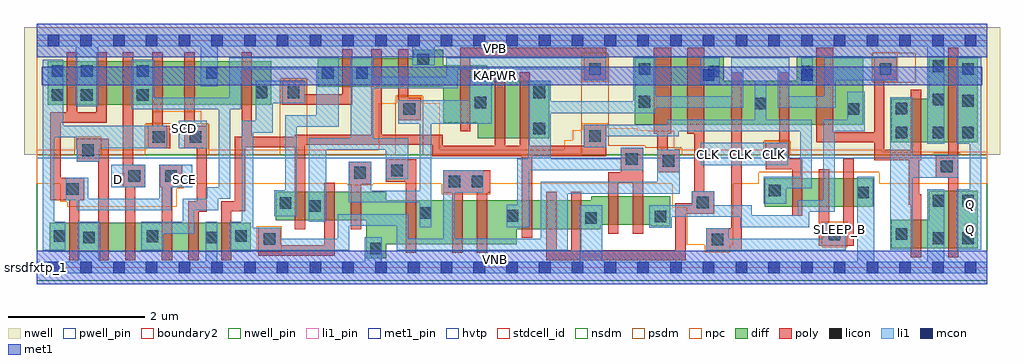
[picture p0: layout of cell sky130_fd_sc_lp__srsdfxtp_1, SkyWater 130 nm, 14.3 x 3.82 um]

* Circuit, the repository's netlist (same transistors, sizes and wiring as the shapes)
* Copyright 2020 The SkyWater PDK Authors
*
* Licensed under the Apache License, Version 2.0 (the "License");
* you may not use this file except in compliance with the License.
* You may obtain a copy of the License at
*
*     https://www.apache.org/licenses/LICENSE-2.0
*
* Unless required by applicable law or agreed to in writing, software
* distributed under the License is distributed on an "AS IS" BASIS,
* WITHOUT WARRANTIES OR CONDITIONS OF ANY KIND, either express or implied.
* See the License for the specific language governing permissions and
* limitations under the License.
*
* SPDX-License-Identifier: Apache-2.0

.SUBCKT sky130_fd_sc_lp__srsdfxtp_1 CLK D SCD SCE SLEEP_B KAPWR VGND VNB VPB VPWR Q
*.PININFO CLK:I D:I SCD:I SCE:I SLEEP_B:I KAPWR:I VGND:I VNB:I VPB:I
*.PININFO VPWR:I Q:O
MI676 net085 clkpos s0 VNB sky130_fd_pr__nfet_01v8 m=1 w=0.64U l=0.15U mult=1 sa=0.265
+ sb=0.265 sd=0.28 area=0.063 perim=1.14
MI673 net061 net062 net096 VNB sky130_fd_pr__nfet_01v8 m=1 w=0.42U l=0.15U mult=1
+ sa=0.265 sb=0.265 sd=0.28 area=0.063 perim=1.14
MI642 clkneg CLK net0123 VNB sky130_fd_pr__nfet_01v8 m=1 w=0.42U l=0.15U mult=1
+ sa=0.265 sb=0.265 sd=0.28 area=0.063 perim=1.14
MI636 clkpos clkneg VGND VNB sky130_fd_pr__nfet_01v8 m=1 w=0.42U l=0.15U mult=1
+ sa=0.265 sb=0.265 sd=0.28 area=0.063 perim=1.14
MI674 net062 s0 net079 VNB sky130_fd_pr__nfet_01v8 m=1 w=0.42U l=0.15U mult=1 sa=0.265
+ sb=0.265 sd=0.28 area=0.063 perim=1.14
MI42 db clkneg M0 VNB sky130_fd_pr__nfet_01v8 m=1 w=0.42U l=0.15U mult=1 sa=0.265
+ sb=0.265 sd=0.28 area=0.063 perim=1.14
MI656 net079 s0 VGND VNB sky130_fd_pr__nfet_01v8 m=1 w=0.42U l=0.15U mult=1 sa=0.265
+ sb=0.265 sd=0.28 area=0.063 perim=1.14
MI634 sceb SCE VGND VNB sky130_fd_pr__nfet_01v8 m=1 w=0.42U l=0.15U mult=1 sa=0.265
+ sb=0.265 sd=0.28 area=0.063 perim=1.14
MI4 M0 clkpos net077 VNB sky130_fd_pr__nfet_01v8 m=1 w=0.42U l=0.15U mult=1 sa=0.265
+ sb=0.265 sd=0.28 area=0.063 perim=1.14
MI34 net077 M1 VGND VNB sky130_fd_pr__nfet_01v8 m=1 w=0.42U l=0.15U mult=1 sa=0.265
+ sb=0.265 sd=0.28 area=0.063 perim=1.14
MI655 s0 clkneg net061 VNB sky130_fd_pr__nfet_01v8 m=1 w=0.42U l=0.15U mult=1 sa=0.265
+ sb=0.265 sd=0.28 area=0.063 perim=1.14
MI652 net041 s0 VGND VNB sky130_fd_pr__nfet_01v8 m=1 w=0.42U l=0.15U mult=1 sa=0.265
+ sb=0.265 sd=0.28 area=0.063 perim=1.14
MI653 Q net041 VGND VNB sky130_fd_pr__nfet_01v8 m=1 w=0.84U l=0.15U mult=1 sa=0.265
+ sb=0.265 sd=0.28 area=0.063 perim=1.14
MI654 net096 net062 VGND VNB sky130_fd_pr__nfet_01v8 m=1 w=0.42U l=0.15U mult=1
+ sa=0.265 sb=0.265 sd=0.28 area=0.063 perim=1.14
MI647 M1 M0 VGND VNB sky130_fd_pr__nfet_01v8 m=1 w=0.64U l=0.15U mult=1 sa=0.265
+ sb=0.265 sd=0.28 area=0.063 perim=1.14
MI649 M1 clkpos net085 VNB sky130_fd_pr__nfet_01v8 m=1 w=0.64U l=0.15U mult=1 sa=0.265
+ sb=0.265 sd=0.28 area=0.063 perim=1.14
MI671 net0115 SLEEP_B VGND VNB sky130_fd_pr__nfet_01v8 m=1 w=0.42U l=0.15U mult=1
+ sa=0.265 sb=0.265 sd=0.28 area=0.063 perim=1.14
MI670 net0123 SLEEP_B net0115 VNB sky130_fd_pr__nfet_01v8 m=1 w=0.42U l=0.15U mult=1
+ sa=0.265 sb=0.265 sd=0.28 area=0.063 perim=1.14
MI98 db D n0 VNB sky130_fd_pr__nfet_01v8 m=1 w=0.42U l=0.15U mult=1 sa=0.265 sb=0.265
+ sd=0.28 area=0.525 perim=3.1
MI103 n1 SCD VGND VNB sky130_fd_pr__nfet_01v8 m=1 w=0.42U l=0.15U mult=1 sa=0.265
+ sb=0.265 sd=0.28 area=0.525 perim=3.1
MI120 db SCE n1 VNB sky130_fd_pr__nfet_01v8 m=1 w=0.42U l=0.15U mult=1 sa=0.265
+ sb=0.265 sd=0.28 area=0.525 perim=3.1
MI104 n0 sceb VGND VNB sky130_fd_pr__nfet_01v8 m=1 w=0.42U l=0.15U mult=1 sa=0.265
+ sb=0.265 sd=0.28 area=0.525 perim=3.1
MI643 clkneg CLK KAPWR VPB sky130_fd_pr__pfet_01v8_hvt m=1 w=0.64U l=0.15U mult=1
+ sa=0.265 sb=0.265 sd=0.28 area=0.063 perim=1.14
MI635 clkpos clkneg VPWR VPB sky130_fd_pr__pfet_01v8_hvt m=1 w=0.64U l=0.15U mult=1
+ sa=0.265 sb=0.265 sd=0.28 area=0.063 perim=1.14
MI43 db clkpos M0 VPB sky130_fd_pr__pfet_01v8_hvt m=1 w=0.42U l=0.15U mult=1 sa=0.265
+ sb=0.265 sd=0.28 area=0.063 perim=1.14
MI662 net0133 net062 KAPWR VPB sky130_fd_pr__pfet_01v8_hvt m=1 w=1.0U l=0.25U mult=1
+ sa=0.265 sb=0.265 sd=0.28 area=0.063 perim=1.14
MI664 s0 clkpos net0133 VPB sky130_fd_pr__pfet_01v8_hvt m=1 w=1.0U l=0.25U mult=1
+ sa=0.265 sb=0.265 sd=0.28 area=0.063 perim=1.14
MI658 net062 s0 KAPWR VPB sky130_fd_pr__pfet_01v8_hvt m=1 w=1.0U l=0.25U mult=1
+ sa=0.265 sb=0.265 sd=0.28 area=0.063 perim=1.14
MI30 net0156 M1 VPWR VPB sky130_fd_pr__pfet_01v8_hvt m=1 w=0.42U l=0.15U mult=1
+ sa=0.265 sb=0.265 sd=0.28 area=0.063 perim=1.14
MI31 M0 clkneg net0156 VPB sky130_fd_pr__pfet_01v8_hvt m=1 w=0.42U l=0.15U mult=1
+ sa=0.265 sb=0.265 sd=0.28 area=0.063 perim=1.14
MI663 net041 s0 VPWR VPB sky130_fd_pr__pfet_01v8_hvt m=1 w=0.64U l=0.15U mult=1
+ sa=0.265 sb=0.265 sd=0.28 area=0.063 perim=1.14
MI660 Q net041 VPWR VPB sky130_fd_pr__pfet_01v8_hvt m=1 w=1.26U l=0.15U mult=1
+ sa=0.265 sb=0.265 sd=0.28 area=0.063 perim=1.14
MI648 M1 M0 VPWR VPB sky130_fd_pr__pfet_01v8_hvt m=1 w=0.84U l=0.15U mult=1 sa=0.265
+ sb=0.265 sd=0.28 area=0.063 perim=1.14
MI650 M1 clkneg net0173 VPB sky130_fd_pr__pfet_01v8_hvt m=1 w=0.84U l=0.15U mult=1
+ sa=0.265 sb=0.265 sd=0.28 area=0.063 perim=1.14
MI633 sceb SCE VPWR VPB sky130_fd_pr__pfet_01v8_hvt m=1 w=0.64U l=0.15U mult=1
+ sa=0.265 sb=0.265 sd=0.28 area=0.063 perim=1.14
MI672 clkneg SLEEP_B KAPWR VPB sky130_fd_pr__pfet_01v8_hvt m=1 w=0.64U l=0.15U mult=1
+ sa=0.265 sb=0.265 sd=0.28 area=0.063 perim=1.14
MI675 net0173 clkneg s0 VPB sky130_fd_pr__pfet_01v8_hvt m=1 w=0.84U l=0.15U mult=1
+ sa=0.265 sb=0.265 sd=0.28 area=0.063 perim=1.14
MI101 db sceb p1 VPB sky130_fd_pr__pfet_01v8_hvt m=1 w=0.64U l=0.15U mult=1 sa=0.265
+ sb=0.265 sd=0.28 area=0.063 perim=1.14
MI107 p0 SCE VPWR VPB sky130_fd_pr__pfet_01v8_hvt m=1 w=0.64U l=0.15U mult=1 sa=0.265
+ sb=0.265 sd=0.28 area=0.063 perim=1.14
MI94 db D p0 VPB sky130_fd_pr__pfet_01v8_hvt m=1 w=0.64U l=0.15U mult=1 sa=0.265
+ sb=0.265 sd=0.28 area=0.063 perim=1.14
MI108 p1 SCD VPWR VPB sky130_fd_pr__pfet_01v8_hvt m=1 w=0.64U l=0.15U mult=1 sa=0.265
+ sb=0.265 sd=0.28 area=0.063 perim=1.14
.ENDS sky130_fd_sc_lp__srsdfxtp_1

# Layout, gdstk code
import gdstk
lib = gdstk.Library(unit=1e-6, precision=1e-09)
def R(c, l, rs):  # rectangles x0, y0, x1, y1
    for r in rs: c.add(gdstk.rectangle(r[:2], r[2:], *l))
def A(c, l, x, y, w, h, nx, ny, dx, dy):  # array of equal rectangles
    R(c, l, [(x+i*dx, y+j*dy, x+i*dx+w, y+j*dy+h) for i in range(nx) for j in range(ny)])
def P(c, l, *ps):  # polygons
    for p in ps: c.add(gdstk.Polygon(p, *l))
nwell_pin = (64, 16)
nwell = (64, 20)
diff = (65, 20)
poly = (66, 20)
licon = (66, 44)
li1_pin = (67, 16)
li1 = (67, 20)
mcon = (67, 44)
met1_pin = (68, 16)
met1 = (68, 20)
hvtp = (78, 44)
stdcell_id = (81, 4)
nsdm = (93, 44)
psdm = (94, 20)
npc = (95, 20)
pwell_pin = (122, 16)
boundary2 = (236, 0)

sky130_fd_sc_lp__srsdfxt = lib.new_cell('sky130_fd_sc_lp__srsdfxtp_1')
R(sky130_fd_sc_lp__srsdfxt, nwell_pin, [(0,3.085,13.92,3.33)])
R(sky130_fd_sc_lp__srsdfxt, nwell, [(-0.19,1.655,14.11,3.52)])
R(sky130_fd_sc_lp__srsdfxt, diff, [(0.185,0.235,3.13,0.655), (10.665,0.89,12.25,1.31), (0.155,2.385,3.435,3.025)])
P(sky130_fd_sc_lp__srsdfxt, diff, [(7.505,2.735),(6.6,2.735),(6.6,2.965),(5.95,2.965),(5.95,3.195),(5.515,3.195),(5.515,3.07),(4.115,3.07),(4.115,2.65),(5.95,2.65),(5.95,2.125),(6.46,2.125),(6.46,1.895),(7.505,1.895)],
  [(9.28,1.045),(8.12,1.045),(8.12,0.985),(5.115,0.985),(5.115,1.115),(3.495,1.115),(3.495,0.695),(4.825,0.695),(4.825,0.135),(5.115,0.135),(5.115,0.345),(7.03,0.345),(7.03,0.565),(8.26,0.565),(8.26,0.625),(8.99,0.625),(8.99,0.605),(9.28,0.605)],
  [(12.105,3.095),(11.135,3.095),(11.135,2.735),(10.065,2.735),(10.065,3.095),(8.755,3.095),(8.755,2.095),(12.105,2.095)],
  [(13.785,3.095),(13.065,3.095),(13.065,2.475),(12.52,2.475),(12.52,1.835),(13.785,1.835)],
  [(13.785,1.125),(13.065,1.125),(13.065,0.705),(12.52,0.705),(12.52,0.285),(13.785,0.285)])
P(sky130_fd_sc_lp__srsdfxt, poly, [(1.02,3.155),(0.87,3.155),(0.87,2.275),(0.59,2.275),(0.59,3.155),(0.44,3.155),(0.44,2.275),(0.195,2.275),(0.195,0.985),(0.47,0.985),(0.47,0.105),(0.62,0.105),(0.62,0.985),(0.69,0.985),(0.69,1.315),(0.345,1.315),(0.345,2.125),(1.02,2.125)],
  [(1.05,1.885),(0.585,1.885),(0.585,1.555),(0.9,1.555),(0.9,0.105),(1.05,0.105)],
  [(1.59,1.51),(1.41,1.51),(1.41,3.155),(1.26,3.155),(1.26,1.18),(1.29,1.18),(1.29,0.105),(1.44,0.105),(1.44,1.18),(1.59,1.18)],
  [(1.95,2.08),(1.84,2.08),(1.84,3.155),(1.69,3.155),(1.69,2.08),(1.62,2.08),(1.62,1.75),(1.95,1.75)],
  [(2.13,1.51),(1.8,1.51),(1.8,1.18),(1.83,1.18),(1.83,0.105),(1.98,0.105),(1.98,1.18),(2.13,1.18)],
  [(2.49,2.08),(2.31,2.08),(2.31,3.155),(2.16,3.155),(2.16,1.75),(2.34,1.75),(2.34,0.97),(2.22,0.97),(2.22,0.105),(2.37,0.105),(2.37,0.82),(2.49,0.82)],
  [(4.36,1.245),(4.21,1.245),(4.21,0.325),(3.57,0.325),(3.57,0.585),(3.24,0.585),(3.24,0.175),(4.36,0.175)],
  [(4.62,3.2),(4.47,3.2),(4.47,2.54),(3.925,2.54),(3.925,2.735),(3.595,2.735),(3.595,2.39),(4.62,2.39)],
  [(4.9,1.555),(4.57,1.555),(4.57,1.225),(4.6,1.225),(4.6,0.565),(4.75,0.565),(4.75,1.225),(4.9,1.225)],
  [(5.555,1.59),(5.11,1.59),(5.11,1.26),(5.405,1.26),(5.405,0.215),(5.555,0.215)],
  [(5.62,2.49),(5.44,2.49),(5.44,3.2),(5.29,3.2),(5.29,2.16),(5.62,2.16)],
  [(6.64,1.425),(5.95,1.425),(5.95,1.095),(6.085,1.095),(6.085,0.215),(6.235,0.215),(6.235,1.095),(6.445,1.095),(6.445,0.215),(6.595,0.215),(6.595,1.095),(6.64,1.095)],
  [(8.34,3.225),(6.2,3.225),(6.2,1.995),(6.35,1.995),(6.35,3.075),(8.01,3.075),(8.01,2.745),(8.34,2.745)],
  [(8.34,2.095),(8.01,2.095),(8.01,1.785),(7.22,1.785),(7.22,2.865),(7.07,2.865),(7.07,1.785),(6.86,1.785),(6.86,2.865),(6.71,2.865),(6.71,1.785),(5.945,1.785),(5.945,1.95),(5.05,1.95),(5.05,3.2),(4.9,3.2),(4.9,1.95),(3.78,1.95),(3.78,1.915),(3.15,1.915),(3.15,3.155),(3,3.155),(3,1.915),(2.9,1.915),(2.9,0.975),(2.7,0.975),(2.7,0.105),(2.85,0.105),(2.85,0.825),(3.05,0.825),(3.05,1.765),(3.78,1.765),(3.78,0.565),(3.93,0.565),(3.93,1.8),(5.795,1.8),(5.795,1.635),(7.105,1.635),(7.105,0.435),(7.255,0.435),(7.255,1.635),(8.34,1.635)],
  [(8.88,1.755),(8.55,1.755),(8.55,1.395),(8.37,1.395),(8.37,0.495),(8.52,0.495),(8.52,1.245),(8.73,1.245),(8.73,0.495),(8.88,0.495)],
  [(9.42,1.725),(9.24,1.725),(9.24,1.965),(9.29,1.965),(9.29,3.225),(9.04,3.225),(9.04,1.965),(9.09,1.965),(9.09,1.395),(9.42,1.395)],
  [(9.92,1.12),(9.78,1.12),(9.78,3.225),(9.53,3.225),(9.53,1.965),(9.63,1.965),(9.63,1.12),(9.59,1.12),(9.59,0.94),(9.355,0.94),(9.355,0.255),(7.975,0.255),(7.975,1.115),(7.825,1.115),(7.825,0.255),(7.615,0.255),(7.615,1.115),(7.465,1.115),(7.465,0.105),(9.505,0.105),(9.505,0.79),(9.92,0.79)],
  [(10.325,2.865),(10.175,2.865),(10.175,0.58),(9.805,0.58),(9.805,0.25),(10.325,0.25)],
  [(11.215,1.595),(11.025,1.595),(11.025,2.865),(10.875,2.865),(10.875,1.83),(10.68,1.83),(10.68,1.445),(11.065,1.445),(11.065,0.76),(11.215,0.76)],
  [(11.965,1.595),(11.815,1.595),(11.815,0.65),(11.605,0.65),(11.605,1.44),(11.455,1.44),(11.455,0.32),(11.965,0.32)],
  [(12.955,1.075),(12.925,1.075),(12.925,1.575),(12.955,1.575),(12.955,2.605),(12.805,2.605),(12.805,1.725),(12.415,1.725),(12.415,2.745),(12.595,2.745),(12.595,3.075),(12.265,3.075),(12.265,1.985),(11.67,1.985),(11.67,3.225),(11.42,3.225),(11.42,1.835),(12.265,1.835),(12.265,1.575),(12.775,1.575),(12.775,0.925),(12.805,0.925),(12.805,0.155),(12.955,0.155)],
  [(13.5,3.225),(13.35,3.225),(13.35,1.645),(13.165,1.645),(13.165,1.315),(13.35,1.315),(13.35,0.155),(13.5,0.155)])
A(sky130_fd_sc_lp__srsdfxt, licon, 13.125, 1.895, 0.17, 0.17, 1, 3, 0, 0.485)
A(sky130_fd_sc_lp__srsdfxt, licon, 13.555, 1.895, 0.17, 0.17, 1, 3, 0, 0.465)
R(sky130_fd_sc_lp__srsdfxt, licon, [(4.885,0.195,5.055,0.365), (9.885,0.33,10.055,0.5), (3.32,0.335,3.49,0.505), (13.125,0.345,13.295,0.515), (13.555,0.345,13.725,0.515), (0.675,0.355,0.845,0.525), (2.475,0.355,2.645,0.525), (1.605,0.375,1.775,0.545), (0.245,0.38,0.415,0.55), (2.905,0.38,3.075,0.55), (11.6,0.4,11.77,0.57), (12.58,0.41,12.75,0.58), (8.03,0.645,8.2,0.815), (9.05,0.665,9.22,0.835), (6.88,0.675,7.05,0.845), (5.61,0.715,5.78,0.885), (3.985,0.82,4.155,0.99), (3.555,0.86,3.725,1.03), (9.67,0.87,9.84,1.04), (13.125,0.895,13.295,1.065), (13.555,0.895,13.725,1.065), (12.02,1.015,12.19,1.185), (10.725,1.045,10.895,1.215), (0.44,1.065,0.61,1.235), (6.03,1.175,6.2,1.345), (6.37,1.175,6.54,1.345), (1.34,1.26,1.51,1.43), (1.88,1.26,2.05,1.43), (4.65,1.305,4.82,1.475), (5.19,1.34,5.36,1.51), (13.245,1.395,13.415,1.565), (9.17,1.475,9.34,1.645), (8.63,1.505,8.8,1.675), (10.76,1.58,10.93,1.75), (0.665,1.635,0.835,1.805), (1.7,1.83,1.87,2), (2.24,1.83,2.41,2), (8.09,1.845,8.26,2.015), (12.58,1.895,12.75,2.065), (7.275,1.955,7.445,2.125), (5.37,2.24,5.54,2.41), (11.875,2.24,12.045,2.41), (12.58,2.245,12.75,2.415), (10.515,2.32,10.685,2.49), (6.415,2.335,6.585,2.505), (8.815,2.345,8.985,2.515), (0.215,2.445,0.385,2.615), (0.645,2.445,0.815,2.615), (1.465,2.445,1.635,2.615), (3.205,2.485,3.375,2.655), (3.675,2.485,3.845,2.655), (7.275,2.485,7.445,2.655), (2.48,2.765,2.65,2.935), (4.175,2.765,4.345,2.935), (4.675,2.765,4.845,2.935), (9.835,2.79,10.005,2.96), (11.195,2.79,11.365,2.96), (0.215,2.795,0.385,2.965), (0.645,2.795,0.815,2.965), (1.465,2.795,1.635,2.965), (8.09,2.825,8.26,2.995), (8.815,2.825,8.985,2.995), (12.345,2.825,12.515,2.995), (5.575,2.965,5.745,3.135)])
A(sky130_fd_sc_lp__srsdfxt, li1_pin, 9.755, 1.58, 0.17, 0.17, 3, 1, 0.48, 0)
R(sky130_fd_sc_lp__srsdfxt, li1_pin, [(11.675,0.47,11.845,0.64), (13.595,0.47,13.765,0.64), (13.595,0.84,13.765,1.01), (1.115,1.21,1.285,1.38), (2.075,1.21,2.245,1.38), (2.075,1.95,2.245,2.12)])
R(sky130_fd_sc_lp__srsdfxt, li1, [(1.085,1.18,1.59,1.51), (9.725,1.5,11.01,1.83), (2.075,1.75,2.49,2.15), (9.725,2.68,10.005,3.075), (11.195,2.68,11.365,3.075)])
P(sky130_fd_sc_lp__srsdfxt, li1, [(13.045,1.815),(13.045,3.245),(5.825,3.245),(5.825,2.965),(5.495,2.965),(5.495,3.245),(2.65,3.245),(2.65,2.66),(2.4,2.66),(2.4,3.245),(0.895,3.245),(0.895,2.365),(0.565,2.365),(0.565,3.245),(0,3.245),(0,3.415),(13.92,3.415),(13.92,3.245),(13.295,3.245),(13.295,1.815)],
  [(7.95,0.085),(7.95,0.915),(8.28,0.915),(8.28,0.085),(12.02,0.085),(12.02,1.33),(12.27,1.33),(12.27,0.085),(13.045,0.085),(13.045,1.145),(13.295,1.145),(13.295,0.085),(13.92,0.085),(13.92,-0.085),(0,-0.085),(0,0.085),(0.595,0.085),(0.595,0.67),(0.925,0.67),(0.925,0.085),(2.475,0.085),(2.475,0.67),(2.645,0.67),(2.645,0.085),(4.805,0.085),(4.805,0.445),(5.055,0.445),(5.055,0.085)],
  [(10.135,0.425),(11.52,0.425),(11.52,0.65),(11.85,0.65),(11.85,0.255),(9.805,0.255),(9.805,0.575),(10.135,0.575)],
  [(11.535,3.075),(12.595,3.075),(12.595,2.745),(11.705,2.745),(11.705,2.34),(10.855,2.34),(10.855,2.905),(10.345,2.905),(10.345,2.34),(9.065,2.34),(9.065,2.265),(7.525,2.265),(7.525,1.595),(8.55,1.595),(8.55,1.755),(8.88,1.755),(8.88,1.425),(7.21,1.425),(7.21,0.595),(6.88,0.595),(6.88,0.925),(7.04,0.925),(7.04,1.595),(7.195,1.595),(7.195,2.735),(7.525,2.735),(7.525,2.435),(8.735,2.435),(8.735,3.075),(9.065,3.075),(9.065,2.51),(10.175,2.51),(10.175,3.075),(11.025,3.075),(11.025,2.51),(11.535,2.51)],
  [(5.61,1.125),(5.61,2.105),(5.29,2.105),(5.29,2.455),(6.335,2.455),(6.335,2.735),(6.665,2.735),(6.665,2.105),(5.78,2.105),(5.78,0.595),(5.61,0.595),(5.61,0.955),(4.57,0.955),(4.57,1.555),(4.9,1.555),(4.9,1.125)],
  [(13.475,0.265),(13.475,1.145),(13.665,1.145),(13.665,1.815),(13.475,1.815),(13.475,3.075),(13.835,3.075),(13.835,0.265)],
  [(9.235,2.095),(9.235,2.17),(10.515,2.17),(10.515,2.735),(10.685,2.735),(10.685,2.17),(11.35,2.17),(11.35,1.16),(10.975,1.16),(10.975,0.935),(10.645,0.935),(10.645,1.33),(11.18,1.33),(11.18,2),(9.405,2),(9.405,1.925),(8.34,1.925),(8.34,1.765),(8.01,1.765),(8.01,2.095)],
  [(0.915,1.75),(0.915,1.555),(0.585,1.555),(0.585,1.91),(0.255,1.91),(0.255,0.675),(0.415,0.675),(0.415,0.255),(0.085,0.255),(0.085,3.045),(0.385,3.045),(0.385,2.08),(1.905,2.08),(1.905,1.75)],
  [(3.455,2.405),(3.455,1.98),(3.17,1.98),(3.17,0.585),(3.57,0.585),(3.57,0.425),(4.405,0.425),(4.405,0.785),(5.44,0.785),(5.44,0.425),(5.95,0.425),(5.95,1.425),(6.54,1.425),(6.54,1.095),(6.12,1.095),(6.12,0.425),(7.38,0.425),(7.38,1.255),(9.09,1.255),(9.09,1.725),(9.42,1.725),(9.42,1.085),(7.78,1.085),(7.78,0.255),(5.27,0.255),(5.27,0.615),(4.575,0.615),(4.575,0.255),(2.825,0.255),(2.825,0.675),(3,0.675),(3,2.15),(3.205,2.15),(3.205,2.735),(3.925,2.735),(3.925,2.405)],
  [(0.755,1.01),(1.795,1.01),(1.795,1.51),(2.275,1.51),(2.275,1.18),(1.965,1.18),(1.965,0.84),(0.585,0.84),(0.585,0.985),(0.425,0.985),(0.425,1.315),(0.755,1.315)],
  [(8.01,2.905),(6.165,2.905),(6.165,2.625),(4.925,2.625),(4.925,1.895),(5.44,1.895),(5.44,1.295),(5.11,1.295),(5.11,1.725),(4.235,1.725),(4.235,0.675),(3.985,0.675),(3.985,1.895),(4.595,1.895),(4.595,3.075),(4.925,3.075),(4.925,2.795),(5.995,2.795),(5.995,3.075),(8.34,3.075),(8.34,2.745),(8.01,2.745)],
  [(10.305,0.745),(9.3,0.745),(9.3,0.585),(8.97,0.585),(8.97,0.915),(9.59,0.915),(9.59,1.12),(9.92,1.12),(9.92,0.915),(10.475,0.915),(10.475,0.765),(11.145,0.765),(11.145,0.99),(11.52,0.99),(11.52,2.17),(11.875,2.17),(11.875,2.575),(12.125,2.575),(12.125,2),(11.69,2),(11.69,0.82),(11.315,0.82),(11.315,0.595),(10.305,0.595)],
  [(12.83,1.645),(13.495,1.645),(13.495,1.315),(12.83,1.315),(12.83,0.265),(12.5,0.265),(12.5,2.495),(12.83,2.495)],
  [(1.715,2.49),(2.82,2.49),(2.82,3.075),(4.425,3.075),(4.425,2.065),(3.805,2.065),(3.805,0.755),(3.475,0.755),(3.475,1.135),(3.635,1.135),(3.635,2.235),(4.095,2.235),(4.095,2.905),(2.99,2.905),(2.99,2.32),(2.83,2.32),(2.83,1.01),(2.655,1.01),(2.655,0.84),(2.305,0.84),(2.305,0.5),(1.855,0.5),(1.855,0.255),(1.525,0.255),(1.525,0.67),(2.135,0.67),(2.135,1.01),(2.485,1.01),(2.485,1.18),(2.66,1.18),(2.66,2.32),(1.385,2.32),(1.385,3.045),(1.715,3.045)])
A(sky130_fd_sc_lp__srsdfxt, mcon, 0.155, -0.085, 0.17, 0.17, 29, 2, 0.48, 3.33)
R(sky130_fd_sc_lp__srsdfxt, mcon, [(9.755,2.735,9.925,2.905), (11.195,2.735,11.365,2.905)])
R(sky130_fd_sc_lp__srsdfxt, met1_pin, [(0,0,13.92,0.245), (0.07,2.675,13.85,2.945), (0,3.085,13.92,3.33)])
R(sky130_fd_sc_lp__srsdfxt, met1, [(0,-0.245,13.92,0.245), (0.07,2.675,13.85,2.945), (0,3.085,13.92,3.575)])
R(sky130_fd_sc_lp__srsdfxt, hvtp, [(0,1.6,13.92,3.33)])
R(sky130_fd_sc_lp__srsdfxt, stdcell_id, [(0,0,13.92,3.33)])
R(sky130_fd_sc_lp__srsdfxt, nsdm, [(0,-0.19,13.92,1.655)])
P(sky130_fd_sc_lp__srsdfxt, psdm, [(13.92,3.52),(12.865,3.52),(12.865,2.715),(12.235,2.715),(12.235,3.14),(12.865,3.14),(12.865,3.52),(0,3.52),(0,1.655),(0.555,1.655),(0.555,1.915),(0.945,1.915),(0.945,1.655),(1.59,1.655),(1.59,2.11),(2.52,2.11),(2.52,1.655),(3.565,1.655),(3.565,2.765),(3.955,2.765),(3.955,1.655),(5.26,1.655),(5.26,2.52),(5.65,2.52),(5.65,1.655),(7.98,1.655),(7.98,3.14),(8.37,3.14),(8.37,1.785),(8.91,1.785),(8.91,1.755),(9.45,1.755),(9.45,1.655),(10.65,1.655),(10.65,1.86),(11.04,1.86),(11.04,1.655),(13.135,1.655),(13.135,1.675),(13.525,1.675),(13.525,1.655),(13.92,1.655)])
R(sky130_fd_sc_lp__srsdfxt, npc, [(3.22,0.225,3.59,0.605), (11.5,0.3,11.87,0.67), (3.575,2.385,3.945,2.755), (7.99,2.725,8.36,3.155), (12.245,2.725,12.615,3.155)])
P(sky130_fd_sc_lp__srsdfxt, npc, [(13.92,1.695),(12.38,1.695),(12.38,1.73),(11.03,1.73),(11.03,1.85),(10.66,1.85),(10.66,1.73),(9.44,1.73),(9.44,1.745),(9.335,1.745),(9.335,2.005),(8.95,2.005),(8.95,2.01),(8.795,2.01),(8.795,2.04),(8.36,2.04),(8.36,2.115),(7.99,2.115),(7.99,2.01),(7.85,2.01),(7.85,1.865),(7.725,1.865),(7.725,1.73),(5.905,1.73),(5.905,2.405),(5.64,2.405),(5.64,2.51),(5.27,2.51),(5.27,2.405),(5.005,2.405),(5.005,1.73),(2.51,1.73),(2.51,2.1),(2.405,2.1),(2.405,2.295),(1.705,2.295),(1.705,2.1),(1.6,2.1),(1.6,1.73),(0.935,1.73),(0.935,1.905),(0.565,1.905),(0.565,1.73),(0,1.73),(0,1.23),(0.34,1.23),(0.34,0.965),(0.445,0.965),(0.445,0.895),(2.045,0.895),(2.045,1.16),(2.15,1.16),(2.15,1.23),(4.55,1.23),(4.55,1.205),(4.92,1.205),(4.92,1.23),(5.93,1.23),(5.93,1.075),(6.64,1.075),(6.64,1.23),(9.305,1.23),(9.305,0.925),(9.31,0.925),(9.31,0.875),(9.52,0.875),(9.52,0.335),(9.785,0.335),(9.785,0.225),(10.155,0.225),(10.155,0.335),(10.205,0.335),(10.205,1.23),(10.575,1.23),(10.575,1.4),(12.34,1.4),(12.34,1.23),(13.92,1.23)])
R(sky130_fd_sc_lp__srsdfxt, pwell_pin, [(0,0,13.92,0.245)])
R(sky130_fd_sc_lp__srsdfxt, boundary2, [(0,0,13.92,3.33)])
sky130_fd_sc_lp__srsdfxt.add(gdstk.Label('VNB', (6.72,0.123), layer=64, texttype=59))
sky130_fd_sc_lp__srsdfxt.add(gdstk.Label('VPB', (6.72,3.208), layer=64, texttype=5))
sky130_fd_sc_lp__srsdfxt.add(gdstk.Label('srsdfxtp_1', (0,0), layer=83, texttype=44))
sky130_fd_sc_lp__srsdfxt.add(gdstk.Label('KAPWR', (6.72,2.81), layer=68, texttype=5))
sky130_fd_sc_lp__srsdfxt.add(gdstk.Label('VPWR', (6.72,3.208), layer=68, texttype=5))
sky130_fd_sc_lp__srsdfxt.add(gdstk.Label('VGND', (6.72,0.123), layer=68, texttype=5))
sky130_fd_sc_lp__srsdfxt.add(gdstk.Label('Q', (13.68,0.555), layer=67, texttype=5))
sky130_fd_sc_lp__srsdfxt.add(gdstk.Label('Q', (13.68,0.925), layer=67, texttype=5))
sky130_fd_sc_lp__srsdfxt.add(gdstk.Label('CLK', (9.84,1.665), layer=67, texttype=5))
sky130_fd_sc_lp__srsdfxt.add(gdstk.Label('CLK', (10.32,1.665), layer=67, texttype=5))
sky130_fd_sc_lp__srsdfxt.add(gdstk.Label('CLK', (10.8,1.665), layer=67, texttype=5))
sky130_fd_sc_lp__srsdfxt.add(gdstk.Label('SCD', (2.16,2.035), layer=67, texttype=5))
sky130_fd_sc_lp__srsdfxt.add(gdstk.Label('D', (1.2,1.295), layer=67, texttype=5))
sky130_fd_sc_lp__srsdfxt.add(gdstk.Label('SLEEP_B', (11.76,0.555), layer=67, texttype=5))
sky130_fd_sc_lp__srsdfxt.add(gdstk.Label('SCE', (2.16,1.295), layer=67, texttype=5))

lib.write_gds('sky130_fd_sc_lp__srsdfxtp_1.gds')
